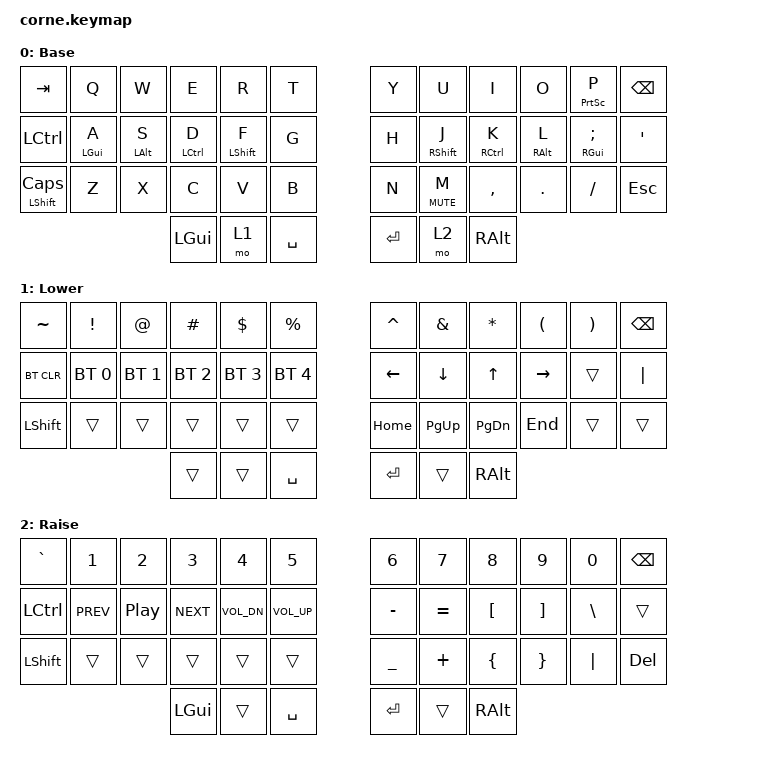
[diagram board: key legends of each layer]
/*
 * Copyright (c) 2020 The ZMK Contributors
 *
 * SPDX-License-Identifier: MIT
 */

#include <behaviors.dtsi>
#include <dt-bindings/zmk/keys.h>
#include <dt-bindings/zmk/bt.h>
#include <dt-bindings/zmk/outputs.h>

/ {
behaviors {
      hm: homerow_mods {
          compatible = "zmk,behavior-hold-tap";
          label = "HOMEROW_MODS";
          #binding-cells = <2>;
          flavor = "tap-preferred";
          tapping-term-ms = <200>;
          quick-tap-ms = <125>;
          global-quick-tap;
          bindings = <&kp>, <&kp>;
      };

      tp: tap_preferred {
          compatible = "zmk,behavior-hold-tap";
          label = "TAP_PREFERRED";
          #binding-cells = <2>;
          tapping-term-ms = <150>;
          quick-tap-ms = <0>;
          flavor = "tap-preferred";
          bindings = <&kp>, <&kp>;
      };

    };
        keymap {
                compatible = "zmk,keymap";

                default_layer {
                        display-name = "Base";
                        bindings = <
//    ┌──────────────┬────────────┬────────────┬────────────┬────────────┬──────┐               ┌──────┬────────────┬────────────┬────────────┬────────────┬──────┐
//    │     tab      │     Q      │     W      │     E      │     R      │  T   │               │  Y   │     U      │     I      │     O      │ &tp pscr P │ bspc │
//    ├──────────────┼────────────┼────────────┼────────────┼────────────┼──────┤               ├──────┼────────────┼────────────┼────────────┼────────────┼──────┤
//    │     lctl     │ &hm lgui A │ &hm lalt S │ &hm lctl D │ &hm lsft F │  G   │               │  H   │ &hm rsft J │ &hm rctl K │ &hm ralt L │ &hm rgui ; │  '   │
//    ├──────────────┼────────────┼────────────┼────────────┼────────────┼──────┤               ├──────┼────────────┼────────────┼────────────┼────────────┼──────┤
//    │ mt lsft caps │     Z      │     X      │     C      │     V      │  B   │               │  N   │ &tp mute M │     ,      │     .      │     /      │ esc  │
//    └──────────────┴────────────┴────────────┴────────────┼────────────┼──────┼─────┐   ┌─────┼──────┼────────────┼────────────┴────────────┴────────────┴──────┘
//                                                          │    lgui    │ mo 1 │ spc │   │ ent │ mo 2 │    ralt    │
//                                                          └────────────┴──────┴─────┘   └─────┴──────┴────────────┘
  &kp TAB          &kp Q        &kp W        &kp E         &kp R          &kp T                             &kp Y   &kp U          &kp I         &kp O        &tp PSCRN P     &kp BSPC
  &kp LCTRL        &hm LGUI A   &hm LALT S   &hm LCTRL D   &hm LSHIFT F   &kp G                             &kp H   &hm RSHIFT J   &hm RCTRL K   &hm RALT L   &hm RGUI SEMI   &kp SQT
  &mt LSHFT CAPS   &kp Z        &kp X        &kp C         &kp V          &kp B                             &kp N   &tp C_MUTE M   &kp COMMA     &kp DOT      &kp FSLH        &kp ESC
                                                           &kp LGUI       &mo 1   &kp SPACE       &kp RET   &mo 2   &kp RALT
                        >;
                };
                lower_layer {
                        display-name = "Lower";

                        bindings = <
//    ┌────────┬──────────┬──────────┬──────────┬──────────┬──────────┐               ┌──────┬──────┬──────┬──────┬─────┬──────┐
//    │   ~    │    !     │    @     │    #     │    $     │    %     │               │  ^   │  &   │  *   │  (   │  )  │ bspc │
//    ├────────┼──────────┼──────────┼──────────┼──────────┼──────────┤               ├──────┼──────┼──────┼──────┼─────┼──────┤
//    │ bt_clr │ bt_sel 0 │ bt_sel 1 │ bt_sel 2 │ bt_sel 3 │ bt_sel 4 │               │ left │ down │  up  │ rght │     │  |   │
//    ├────────┼──────────┼──────────┼──────────┼──────────┼──────────┤               ├──────┼──────┼──────┼──────┼─────┼──────┤
//    │  lsft  │          │          │          │          │          │               │ home │ pgup │ pgdn │ end  │     │      │
//    └────────┴──────────┴──────────┴──────────┼──────────┼──────────┼─────┐   ┌─────┼──────┼──────┼──────┴──────┴─────┴──────┘
//                                              │          │          │ spc │   │ ent │      │ ralt │
//                                              └──────────┴──────────┴─────┘   └─────┴──────┴──────┘
  &kp TILDE    &kp EXCL       &kp AT         &kp HASH       &kp DLLR       &kp PRCNT                                &kp CARET   &kp AMPS    &kp ASTRK   &kp LPAR    &kp RPAR   &kp BSPC
  &bt BT_CLR   &bt BT_SEL 0   &bt BT_SEL 1   &bt BT_SEL 2   &bt BT_SEL 3   &bt BT_SEL 4                             &kp LEFT    &kp DOWN    &kp UP      &kp RIGHT   &trans     &kp PIPE
  &kp LSHFT    &trans         &trans         &trans         &trans         &trans                                   &kp HOME    &kp PG_UP   &kp PG_DN   &kp END     &trans     &trans
                                                            &trans         &trans         &kp SPACE       &kp RET   &trans      &kp RALT
                        >;
                };

                raise_layer {
                        display-name = "Raise";

                        bindings = <
//    ┌──────┬──────┬──────┬──────┬──────┬──────┐               ┌─────┬──────┬───┬───┬───┬──────┐
//    │  `   │  1   │  2   │  3   │  4   │  5   │               │  6  │  7   │ 8 │ 9 │ 0 │ bspc │
//    ├──────┼──────┼──────┼──────┼──────┼──────┤               ├─────┼──────┼───┼───┼───┼──────┤
//    │ lctl │ prev │ play │ next │ vold │ volu │               │  -  │  =   │ [ │ ] │ \ │      │
//    ├──────┼──────┼──────┼──────┼──────┼──────┤               ├─────┼──────┼───┼───┼───┼──────┤
//    │ lsft │      │      │      │      │      │               │  _  │  +   │ { │ } │ | │ del  │
//    └──────┴──────┴──────┴──────┼──────┼──────┼─────┐   ┌─────┼─────┼──────┼───┴───┴───┴──────┘
//                                │ lgui │      │ spc │   │ ent │     │ ralt │
//                                └──────┴──────┴─────┘   └─────┴─────┴──────┘
  &kp GRAVE   &kp N1       &kp N2     &kp N3       &kp N4         &kp N5                                   &kp N6      &kp N7      &kp N8     &kp N9     &kp N0     &kp BSPC
  &kp LCTRL   &kp C_PREV   &kp C_PP   &kp C_NEXT   &kp C_VOL_DN   &kp C_VOL_UP                             &kp MINUS   &kp EQUAL   &kp LBKT   &kp RBKT   &kp BSLH   &trans
  &kp LSHFT   &trans       &trans     &trans       &trans         &trans                                   &kp UNDER   &kp PLUS    &kp LBRC   &kp RBRC   &kp PIPE   &kp DEL
                                                   &kp LGUI       &trans         &kp SPACE       &kp RET   &trans      &kp RALT
                        >;
                };
                extra_layer {
                  status = "reserved";
                };
                extra_layer2 {
                  status = "reserved";
                };
                
        };
};
